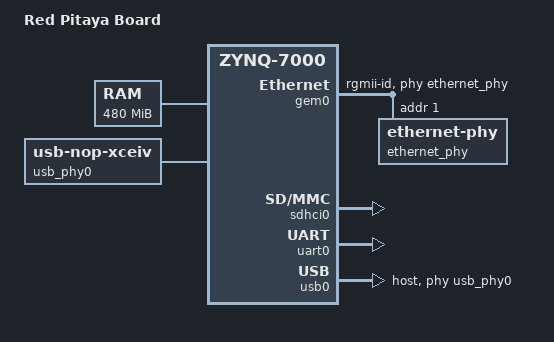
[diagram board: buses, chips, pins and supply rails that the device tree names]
/*
 * Red Pitaya board DTS
 *
 *  Copyright (C) 2011 - 2015 Xilinx
 *
 * SPDX-License-Identifier:	GPL-2.0+
 */
/dts-v1/;
#include "zynq-7000.dtsi"

/ {
	model = "Red Pitaya Board";
	compatible = "xlnx,zynq-red-pitaya", "xlnx,zynq-7000";

	aliases {
		ethernet0 = &gem0;
		serial0 = &uart0;
	};

	memory {
		device_type = "memory";
		reg = <0x0 0x1E000000>;
	};

	chosen {
		bootargs = "earlyprintk";
		stdout-path = "serial0:115200n8";
	};

	usb_phy0: phy0 {
		compatible = "usb-nop-xceiv";
		#phy-cells = <0>;
	};
};

&clkc {
	ps-clk-frequency = <33333333>;
};

&gem0 {
	status = "okay";
	phy-mode = "rgmii-id";
	phy-handle = <&ethernet_phy>;

	ethernet_phy: ethernet-phy@1 {
		reg = <1>;
	};
};

&sdhci0 {
	u-boot,dm-pre-reloc;
	status = "okay";
};

&uart0 {
	u-boot,dm-pre-reloc;
	status = "okay";
};

&usb0 {
	status = "okay";
	dr_mode = "host";
	usb-phy = <&usb_phy0>;
};
